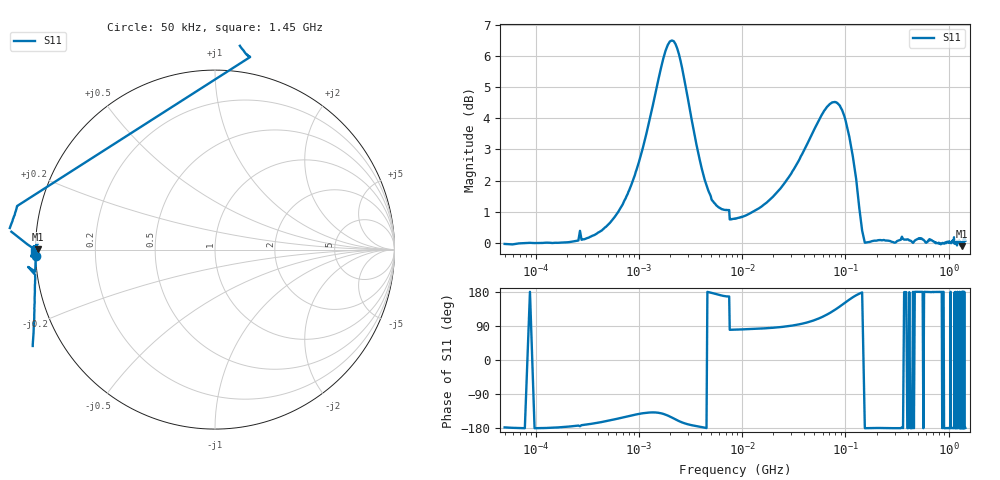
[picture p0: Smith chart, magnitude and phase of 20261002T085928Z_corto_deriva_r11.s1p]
! piloto_deriva / corto_deriva / r11
# HZ S RI R 50
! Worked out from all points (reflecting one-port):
!   501 points, 50 kHz to 1.45 GHz, reference 50 ohm
!   lowest |S11| = -0.1 dB at 1.355 GHz (marker M1), VSWR 165.63, Z = 0.302 + j0.0663 ohm
!   phase of S11 starts at -178 deg and turns -2 deg over the sweep
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50000  -0.9955 -0.0374
183000  -1 -0.0521
363500  -1.004 -0.2235
658000  -1.014 -0.5099
1180000  -1.135 -0.9756
1630000  -1.469 -1.211
1990000  -1.805 -1.081
2170000  -1.898 -0.9151
2440000  -1.901 -0.646
3070000  -1.634 -0.2699
4330000  -1.263 -0.032
7300000  -1.102 0.2417
7750000  0.1943 1.075
8560000  0.1867 1.077
1.9e7  0.1096 1.173
3.16e7  -0.0348 1.312
4.69e7  -0.3226 1.453
6.76e7  -0.8589 1.418
7.93e7  -1.14 1.238
9.37e7  -1.355 0.8985
9.82e7  -1.384 0.7839
1e8  -1.391 0.7374
1.18e8  -1.332 0.3398
1.36e8  -1.134 0.0996
1.63e8  -1.002 -0.00406
4.06e8  -1.013 -0.00489
1.3555e9  -0.988 0.00262
1.45e9  -1.009 -0.00812
